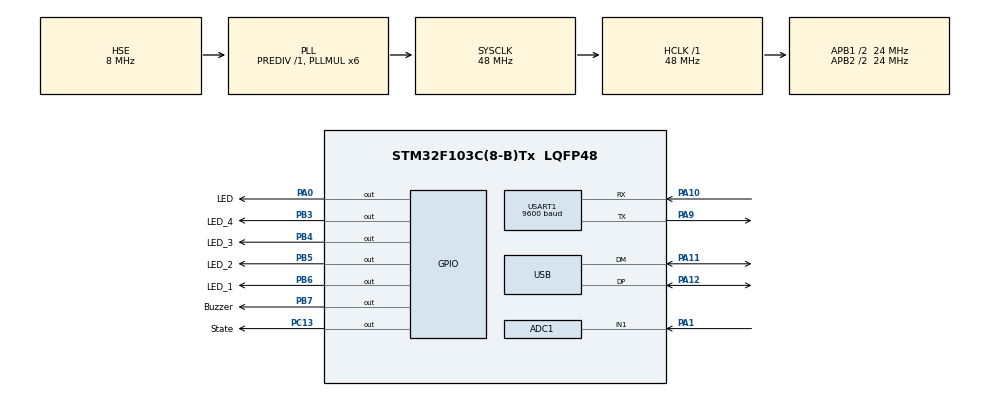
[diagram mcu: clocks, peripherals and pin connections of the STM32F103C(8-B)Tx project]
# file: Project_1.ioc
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ADC1.Channel-0\#ChannelRegularConversion=ADC_CHANNEL_1
ADC1.NbrOfConversionFlag=1
ADC1.Rank-0\#ChannelRegularConversion=1
ADC1.SamplingTime-0\#ChannelRegularConversion=ADC_SAMPLETIME_1CYCLE_5
ADC1.master=1
Mcu.Family=STM32F1
Mcu.Name=STM32F103C(8-B)Tx
Mcu.Package=LQFP48
NVIC.PriorityGroup=NVIC_PRIORITYGROUP_4
NVIC.USB_LP_CAN1_RX0_IRQn=true\:0\:0\:false\:false\:true\:false\:true\:true
PA0-WKUP.GPIO_Label=LED
PA0-WKUP.Signal=GPIO_Output
PA1.Signal=ADCx_IN1
PA10.Mode=Asynchronous
PA10.Signal=USART1_RX
PA11.Mode=Device
PA11.Signal=USB_DM
PA12.Mode=Device
PA12.Signal=USB_DP
PA13.Mode=Serial_Wire
PA13.Signal=SYS_JTMS-SWDIO
PA14.Mode=Serial_Wire
PA14.Signal=SYS_JTCK-SWCLK
PA9.Mode=Asynchronous
PA9.Signal=USART1_TX
PB3.GPIO_Label=LED_4
PB3.Signal=GPIO_Output
PB4.GPIO_Label=LED_3
PB4.Signal=GPIO_Output
PB5.GPIO_Label=LED_2
PB5.Signal=GPIO_Output
PB6.GPIO_Label=LED_1
PB6.Signal=GPIO_Output
PB7.GPIO_Label=Buzzer
PB7.Signal=GPIO_Output
PC13-TAMPER-RTC.GPIO_Label=State
PC13-TAMPER-RTC.Signal=GPIO_Output
PD0-OSC_IN.Mode=HSE-External-Oscillator
PD0-OSC_IN.Signal=RCC_OSC_IN
PD1-OSC_OUT.Mode=HSE-External-Oscillator
PD1-OSC_OUT.Signal=RCC_OSC_OUT
ProjectManager.HeapSize=0x200
ProjectManager.StackSize=0x400
ProjectManager.TargetToolchain=STM32CubeIDE
RCC.AHBFreq_Value=48000000
RCC.APB1CLKDivider=RCC_HCLK_DIV2
RCC.APB1Freq_Value=24000000
RCC.APB1TimFreq_Value=48000000
RCC.APB2CLKDivider=RCC_HCLK_DIV2
RCC.APB2Freq_Value=24000000
RCC.APB2TimFreq_Value=48000000
RCC.HCLKFreq_Value=48000000
RCC.PLLMUL=RCC_PLL_MUL6
RCC.SYSCLKFreq_VALUE=48000000
RCC.SYSCLKSource=RCC_SYSCLKSOURCE_PLLCLK
RCC.USBFreq_Value=48000000
SH.ADCx_IN1.0=ADC1_IN1,IN1
USART1.BaudRate=9600
USART1.VirtualMode=VM_ASYNC
USB_DEVICE.CLASS_NAME_FS=CDC
USB_DEVICE.VirtualMode=Cdc
USB_DEVICE.VirtualModeFS=Cdc_FS
VP_USB_DEVICE_VS_USB_DEVICE_CDC_FS.Mode=CDC_FS
board=custom

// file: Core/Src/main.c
/* USER CODE BEGIN Header */
/**
 ******************************************************************************
 * @file           : main.c
 * @brief          : Main program body
 ******************************************************************************
 * @attention
 *
 * Copyright (c) 2024 STMicroelectronics.
 * All rights reserved.
 *
 * This software is licensed under terms that can be found in the LICENSE file
 * in the root directory of this software component.
 * If no LICENSE file comes with this software, it is provided AS-IS.
 *
 ******************************************************************************
 */
/* USER CODE END Header */
#include "main.h"
#include "usb_device.h"

ADC_HandleTypeDef hadc1;

UART_HandleTypeDef huart1;

void SystemClock_Config(void);
static void MX_GPIO_Init(void);
static void MX_ADC1_Init(void);
static void MX_USART1_UART_Init(void);

/* USER CODE BEGIN 0 */
extern char ReceivedData[100];
extern uint8_t Rxcount;
extern uint32_t dataSize;
extern uint8_t check;
extern uint32_t time;

void SendSMS(){
	  char mobileNumber[] = "+84919059121";  // Enter the Mobile Number you want to send to
	  char ATcommand[80];
	  uint8_t buffer[30] = {0};
	  uint8_t ATisOK = 0;
	  while(!ATisOK){
	  		sprintf(ATcommand,"AT\r\n");
	  		HAL_UART_Transmit(&huart1,(uint8_t *)ATcommand,strlen(ATcommand),1000);
	  		HAL_UART_Receive (&huart1, buffer, 30, 100);
	  		HAL_Delay(100);
	  		if(strstr((char *)buffer,"A")){
	  			ATisOK = 1;
	  		}
	  		memset(buffer,0,sizeof(buffer));
	  }
	  sprintf(ATcommand,"AT+CMGF=1\r\n");
	  HAL_UART_Transmit(&huart1,(uint8_t *)ATcommand,strlen(ATcommand),1000);
	  HAL_UART_Receive (&huart1, buffer, 30, 100);
	  HAL_Delay(200);
	  memset(buffer,0,sizeof(buffer));
	  sprintf(ATcommand,"AT+CMGS=\"%s\"\r\n",mobileNumber);
	  HAL_UART_Transmit(&huart1,(uint8_t *)ATcommand,strlen(ATcommand),1000);
	  HAL_Delay(200);
	  sprintf(ATcommand,"Be careful, your driver is sleeping right now!!!\n BSX: 59B34354%c",0x1a);
	  HAL_UART_Transmit(&huart1,(uint8_t *)ATcommand,strlen(ATcommand),1000);
	  HAL_UART_Receive (&huart1, buffer, 30, 100);
	  memset(buffer,0,sizeof(buffer));
	  //HAL_Delay(4000);
	HAL_GPIO_TogglePin(GPIOC, GPIO_PIN_13);
}
/* USER CODE END 0 */

int main(void) {

	/* MCU Configuration--------------------------------------------------------*/

	/* Reset of all peripherals, Initializes the Flash interface and the Systick. */
	HAL_Init();

	/* Configure the system clock */
	SystemClock_Config();

	/* Initialize all configured peripherals */
	MX_GPIO_Init();
	MX_ADC1_Init();
	MX_USART1_UART_Init();
	MX_USB_DEVICE_Init();
	/* USER CODE BEGIN 2 */

	uint32_t Brightness = 0;
	int cnt = 0;
	int isSleepy = 0;
	HAL_GPIO_WritePin(GPIOC, State_Pin, 1);
//	HAL_GPIO_WritePin(GPIOB, LED_4_Pin, 1);
	/* USER CODE END 2 */

	/* Infinite loop */
	/* USER CODE BEGIN WHILE */
	HAL_ADC_Start(&hadc1);

	while (1) {
		/* USER CODE END WHILE */

		/* USER CODE BEGIN 3 */

		Brightness = HAL_ADC_GetValue(&hadc1);
		if (Brightness < 2400) {
			HAL_GPIO_WritePin(GPIOA, LED_Pin, GPIO_PIN_SET);
		}

		if (cnt == 60) {
			cnt = 0;
			HAL_GPIO_WritePin(GPIOA, LED_Pin, GPIO_PIN_RESET);
			HAL_ADC_Start(&hadc1);

		} else {
			cnt++;
			if(HAL_GPIO_ReadPin(GPIOA, LED_Pin) == GPIO_PIN_SET)
				HAL_ADC_Stop(&hadc1);
			else
				HAL_ADC_Start(&hadc1);

		}
		if (check) {
			if (ReceivedData[0] == '1') {
				isSleepy = 1; cnt = 0;
			}
			else if (ReceivedData[0] == '2') {
				SendSMS();
			}
			for (int i = 0; i < dataSize; i++) {
				ReceivedData[i] = 0;
			}
			check = 0;
		}

		if (isSleepy == 1) {
			if (cnt <= 20) {
				HAL_GPIO_TogglePin(GPIOB, Buzzer_Pin);
				HAL_GPIO_TogglePin(GPIOB, LED_4_Pin);
				HAL_GPIO_TogglePin(GPIOB, LED_3_Pin);
				HAL_GPIO_TogglePin(GPIOB, LED_2_Pin);
				HAL_GPIO_TogglePin(GPIOB, LED_1_Pin);
				HAL_Delay(200);
			}
			else {
				isSleepy = 0;
				HAL_GPIO_WritePin(GPIOB, LED_4_Pin, 0);
				HAL_GPIO_WritePin(GPIOB, LED_3_Pin, 0);
				HAL_GPIO_WritePin(GPIOB, LED_2_Pin, 0);
				HAL_GPIO_WritePin(GPIOB, LED_1_Pin, 0);
				HAL_GPIO_WritePin(GPIOB, Buzzer_Pin, 0);
			}
		}
	}
}
	/* USER CODE END 3 */

void SystemClock_Config(void) {
	RCC_OscInitTypeDef RCC_OscInitStruct = { 0 };
	RCC_ClkInitTypeDef RCC_ClkInitStruct = { 0 };
	RCC_PeriphCLKInitTypeDef PeriphClkInit = { 0 };

	/** Initializes the RCC Oscillators according to the specified parameters
	 * in the RCC_OscInitTypeDef structure.
	 */
	RCC_OscInitStruct.OscillatorType = RCC_OSCILLATORTYPE_HSE;
	RCC_OscInitStruct.HSEState = RCC_HSE_ON;
	RCC_OscInitStruct.HSEPredivValue = RCC_HSE_PREDIV_DIV1;
	RCC_OscInitStruct.HSIState = RCC_HSI_ON;
	RCC_OscInitStruct.PLL.PLLState = RCC_PLL_ON;
	RCC_OscInitStruct.PLL.PLLSource = RCC_PLLSOURCE_HSE;
	RCC_OscInitStruct.PLL.PLLMUL = RCC_PLL_MUL6;
	if (HAL_RCC_OscConfig(&RCC_OscInitStruct) != HAL_OK) {
		Error_Handler();
	}

	/** Initializes the CPU, AHB and APB buses clocks
	 */
	RCC_ClkInitStruct.ClockType = RCC_CLOCKTYPE_HCLK | RCC_CLOCKTYPE_SYSCLK
			| RCC_CLOCKTYPE_PCLK1 | RCC_CLOCKTYPE_PCLK2;
	RCC_ClkInitStruct.SYSCLKSource = RCC_SYSCLKSOURCE_PLLCLK;
	RCC_ClkInitStruct.AHBCLKDivider = RCC_SYSCLK_DIV1;
	RCC_ClkInitStruct.APB1CLKDivider = RCC_HCLK_DIV2;
	RCC_ClkInitStruct.APB2CLKDivider = RCC_HCLK_DIV2;

	if (HAL_RCC_ClockConfig(&RCC_ClkInitStruct, FLASH_LATENCY_1) != HAL_OK) {
		Error_Handler();
	}
	PeriphClkInit.PeriphClockSelection = RCC_PERIPHCLK_ADC | RCC_PERIPHCLK_USB;
	PeriphClkInit.AdcClockSelection = RCC_ADCPCLK2_DIV2;
	PeriphClkInit.UsbClockSelection = RCC_USBCLKSOURCE_PLL;
	if (HAL_RCCEx_PeriphCLKConfig(&PeriphClkInit) != HAL_OK) {
		Error_Handler();
	}
}

static void MX_ADC1_Init(void) {

	ADC_ChannelConfTypeDef sConfig = { 0 };

	/** Common config
	 */
	hadc1.Instance = ADC1;
	hadc1.Init.ScanConvMode = ADC_SCAN_DISABLE;
	hadc1.Init.ContinuousConvMode = DISABLE;
	hadc1.Init.DiscontinuousConvMode = DISABLE;
	hadc1.Init.ExternalTrigConv = ADC_SOFTWARE_START;
	hadc1.Init.DataAlign = ADC_DATAALIGN_RIGHT;
	hadc1.Init.NbrOfConversion = 1;
	if (HAL_ADC_Init(&hadc1) != HAL_OK) {
		Error_Handler();
	}

	/** Configure Regular Channel
	 */
	sConfig.Channel = ADC_CHANNEL_1;
	sConfig.Rank = ADC_REGULAR_RANK_1;
	sConfig.SamplingTime = ADC_SAMPLETIME_1CYCLE_5;
	if (HAL_ADC_ConfigChannel(&hadc1, &sConfig) != HAL_OK) {
		Error_Handler();
	}

}

static void MX_USART1_UART_Init(void) {

	huart1.Instance = USART1;
	huart1.Init.BaudRate = 9600;
	huart1.Init.WordLength = UART_WORDLENGTH_8B;
	huart1.Init.StopBits = UART_STOPBITS_1;
	huart1.Init.Parity = UART_PARITY_NONE;
	huart1.Init.Mode = UART_MODE_TX_RX;
	huart1.Init.HwFlowCtl = UART_HWCONTROL_NONE;
	huart1.Init.OverSampling = UART_OVERSAMPLING_16;
	if (HAL_UART_Init(&huart1) != HAL_OK) {
		Error_Handler();
	}

}

static void MX_GPIO_Init(void) {
	GPIO_InitTypeDef GPIO_InitStruct = { 0 };

	/* GPIO Ports Clock Enable */
	__HAL_RCC_GPIOC_CLK_ENABLE();
	__HAL_RCC_GPIOD_CLK_ENABLE();
	__HAL_RCC_GPIOA_CLK_ENABLE();
	__HAL_RCC_GPIOB_CLK_ENABLE();

	/*Configure GPIO pin Output Level */
	HAL_GPIO_WritePin(State_GPIO_Port, State_Pin, GPIO_PIN_RESET);

	/*Configure GPIO pin Output Level */
	HAL_GPIO_WritePin(LED_GPIO_Port, LED_Pin, GPIO_PIN_RESET);

	/*Configure GPIO pin Output Level */
	HAL_GPIO_WritePin(GPIOB,
			LED_4_Pin | LED_3_Pin | LED_2_Pin | LED_1_Pin | Buzzer_Pin,
			GPIO_PIN_RESET);

	/*Configure GPIO pin : State_Pin */
	GPIO_InitStruct.Pin = State_Pin;
	GPIO_InitStruct.Mode = GPIO_MODE_OUTPUT_PP;
	GPIO_InitStruct.Pull = GPIO_NOPULL;
	GPIO_InitStruct.Speed = GPIO_SPEED_FREQ_LOW;
	HAL_GPIO_Init(State_GPIO_Port, &GPIO_InitStruct);

	/*Configure GPIO pin : LED_Pin */
	GPIO_InitStruct.Pin = LED_Pin;
	GPIO_InitStruct.Mode = GPIO_MODE_OUTPUT_PP;
	GPIO_InitStruct.Pull = GPIO_NOPULL;
	GPIO_InitStruct.Speed = GPIO_SPEED_FREQ_LOW;
	HAL_GPIO_Init(LED_GPIO_Port, &GPIO_InitStruct);

	/*Configure GPIO pins : LED_4_Pin LED_3_Pin LED_2_Pin LED_1_Pin
	 Buzzer_Pin */
	GPIO_InitStruct.Pin = LED_4_Pin | LED_3_Pin | LED_2_Pin | LED_1_Pin
			| Buzzer_Pin;
	GPIO_InitStruct.Mode = GPIO_MODE_OUTPUT_PP;
	GPIO_InitStruct.Pull = GPIO_NOPULL;
	GPIO_InitStruct.Speed = GPIO_SPEED_FREQ_LOW;
	HAL_GPIO_Init(GPIOB, &GPIO_InitStruct);

}

void Error_Handler(void) {
	__disable_irq();
	while (1) {
	}
}
